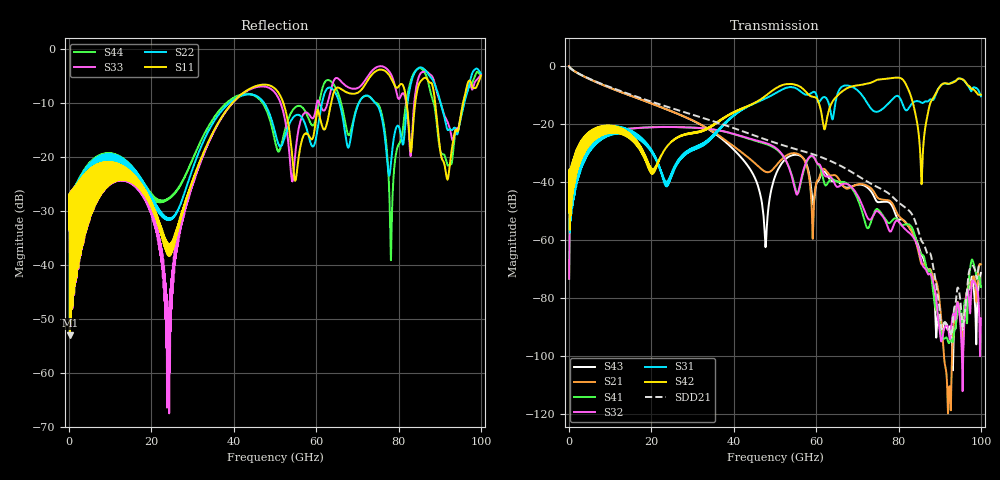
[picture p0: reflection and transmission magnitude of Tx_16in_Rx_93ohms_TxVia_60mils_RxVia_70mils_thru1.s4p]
! Info: Touchstone file created by Circ.  Input file=Tx_16in_Rx_93ohms_TxVia_60mils_RxVia_70mils.circ
# Hz S RI R 50
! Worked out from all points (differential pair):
!   10000 points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, 10 MHz to 100 GHz, reference 50 ohm
!   strongest paths, dB at 10 MHz, 25.01 GHz, 50.01 GHz, 75.01 GHz, 100 GHz:
!     S42: -50.5, -25.9, -8.0, -4.8, -10.0
!     S31: -50.5, -36.6, -9.6, -15.8, -10.5
!     S32: -73.4, -21.1, -28.1, -50.2, -87.0
!     S41: -73.4, -21.1, -28.4, -49.5, -76.2
!     S21: -0.2, -15.8, -34.9, -45.6, -68.4
!     S43: -0.2, -15.8, -38.2, -47.0, -71.4
!   taken as a pair (ports 1,3 in; 2,4 out), SDD21 dB: -0.2, -14.7, -26.5, -41.9, -68.4
!   lowest |S11| = -53.0 dB at 200 MHz (marker M1), VSWR 1.00, Z = 49.8 + j0.124 ohm
!   |S11| at or under -10 dB: start of sweep to 39.67 GHz; 52.01 GHz to 63.64 GHz (11.62 GHz wide, 20.1 % of centre); 88.91 GHz to 95.7 GHz (6.794 GHz wide, 7.36 % of centre) (the widest 3 of 4)
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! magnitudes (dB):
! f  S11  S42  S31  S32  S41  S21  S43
! 10 MHz  -33.5  -50.5  -50.5  -73.4  -73.4  -0.2  -0.2
! 200 MHz  -53.0  -45.5  -45.5  -48.5  -48.5  -0.7  -0.7
! 24.05 GHz  -36.0  -27.4  -41.1  -21.1  -21.1  -15.2  -15.3
! 36.07 GHz  -13.9  -19.4  -22.5  -22.2  -22.2  -23.7  -24.1
! 78.18 GHz  -5.5  -4.3  -12.1  -57.0  -53.8  -46.9  -47.7
! 85.58 GHz  -5.9  -40.7  -12.8  -67.5  -65.0  -68.3  -65.1
! 100 GHz  -5.0  -10.0  -10.5  -87.0  -76.2  -68.4  -71.4
